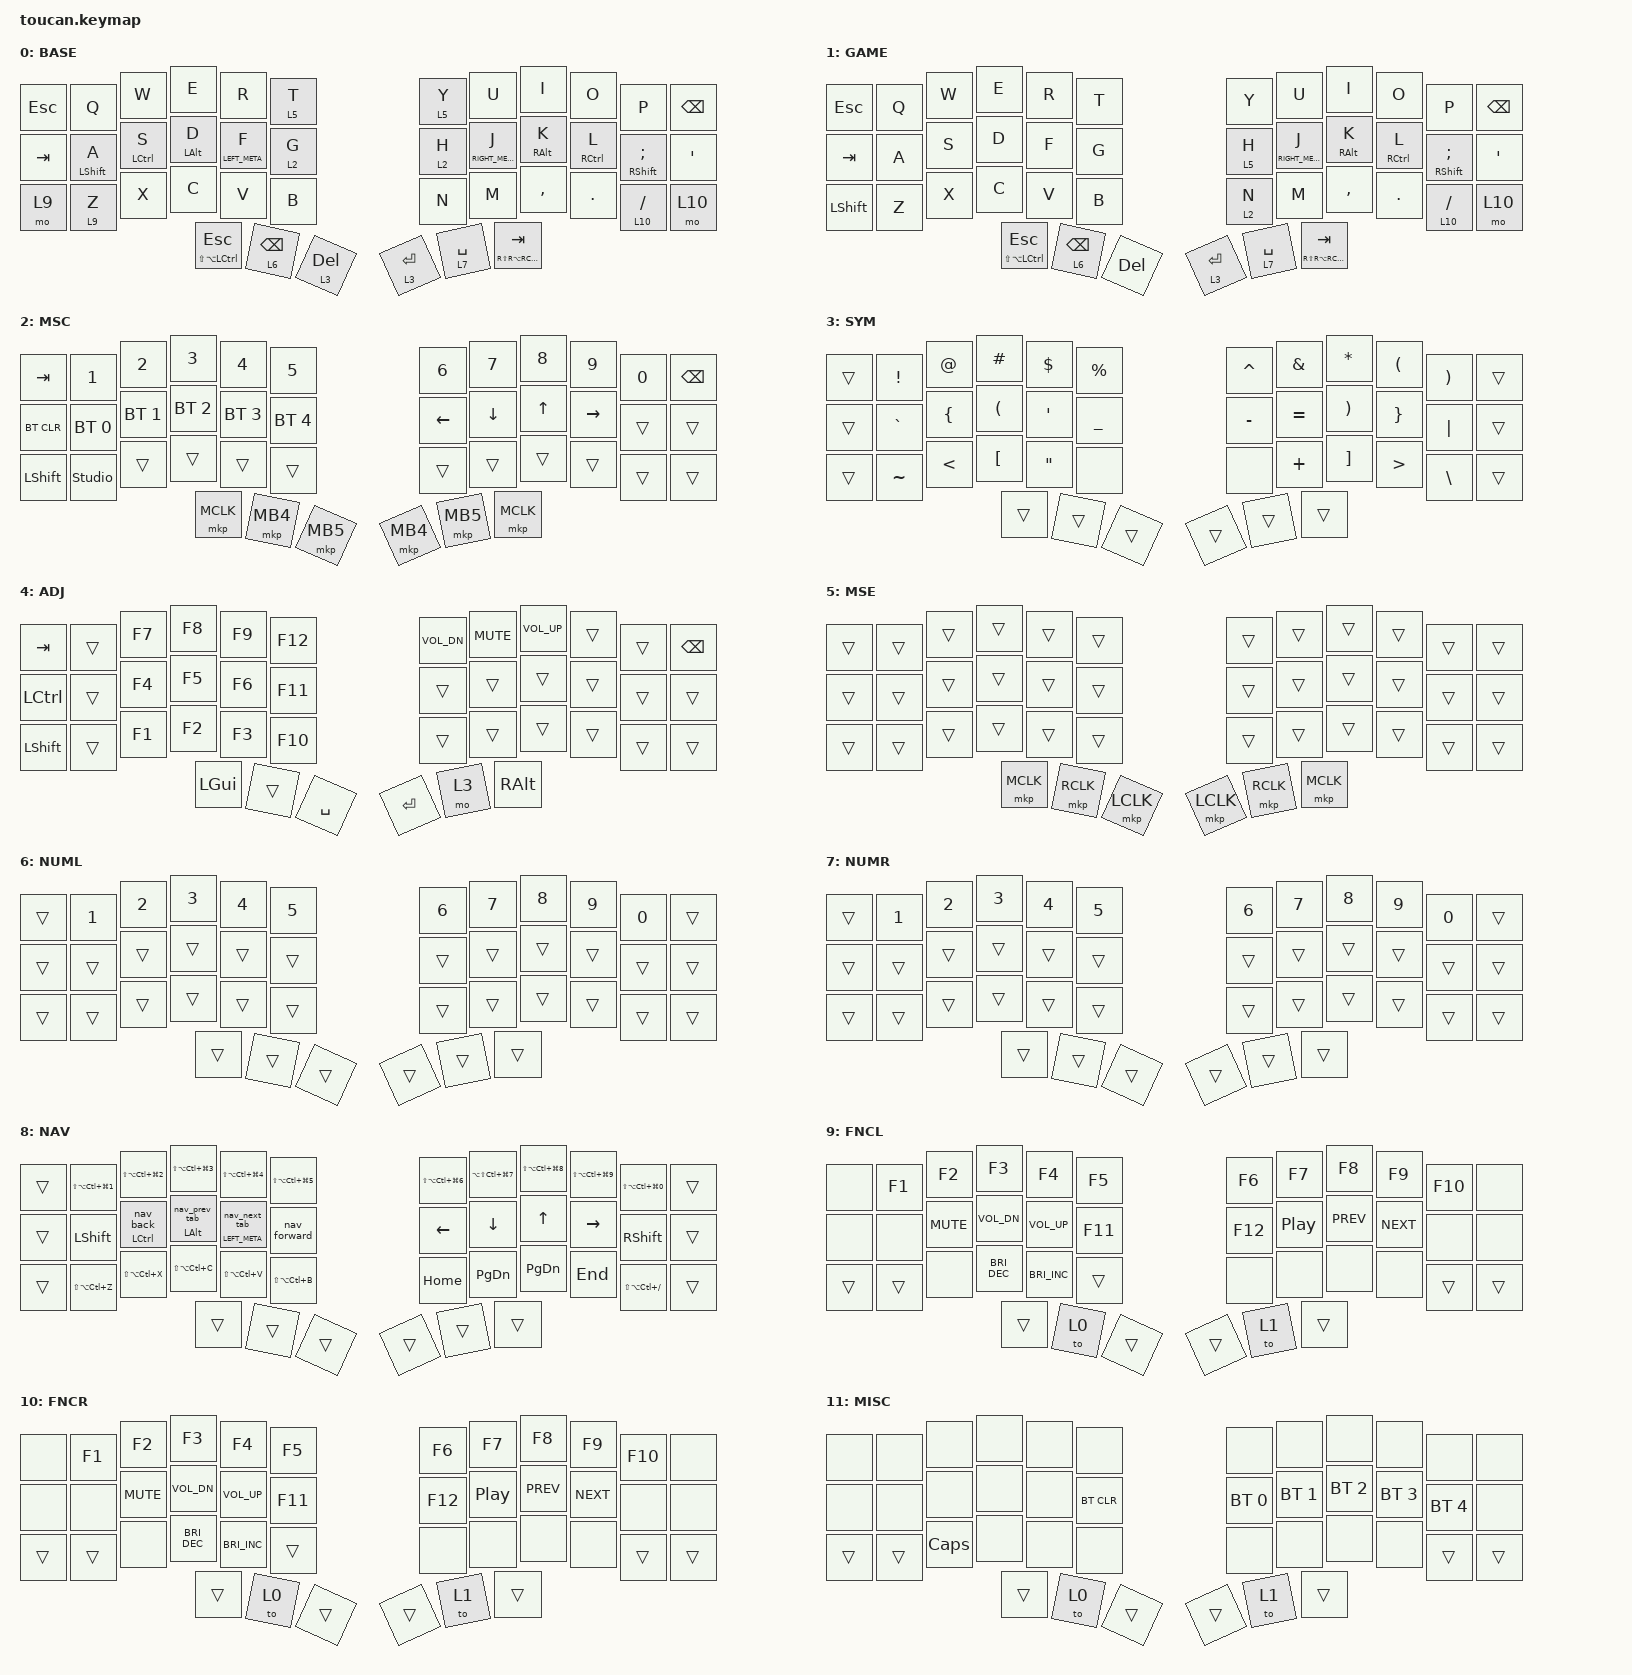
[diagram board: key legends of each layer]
#include <behaviors.dtsi>
#include <dt-bindings/zmk/bt.h>
#include <dt-bindings/zmk/keys.h>
#include <dt-bindings/zmk/pointing.h>

#define BASE 0
#define GAME 1
#define MSC 2
#define SYM 3
#define ADJ 4
#define MSE 5
#define NUML 6
#define NUMR 7
#define NAV 8
#define FNCL 9
#define FNCR 10
#define MISC 11

&lt {
    tapping-term-ms = <250>;
    quick-tap-ms = <220>;
    flavor = "balanced";
};

&mt {
    tapping-term-ms = <275>;
    quick-tap-ms = <275>;
    require-prior-idle-ms = <100>;
    flavor = "balanced";
};

/ {
    conditional_layers {
        compatible = "zmk,conditional-layers";

        NAV {
            if-layers = <6 7>;
            then-layer = <8>;
        };

        MISC {
            if-layers = <9 10>;
            then-layer = <11>;
        };
    };

    macros {
        nav_back: nav_back {
            compatible = "zmk,behavior-macro";
            #binding-cells = <0>;
            bindings = <&kp LG(LC(LS(LEFT_BRACKET)))>;
            label = "NAV_BACK";
        };

        nav_forward: nav_forward {
            compatible = "zmk,behavior-macro";
            #binding-cells = <0>;
            bindings = <&kp LG(LC(LS(RIGHT_BRACKET)))>;
            label = "NAV_FORWARD";
        };

        nav_prev_tab: nav_prev_tab {
            compatible = "zmk,behavior-macro";
            #binding-cells = <0>;
            bindings = <&kp LG(LS(LA(LEFT_BRACKET)))>;
            label = "NAV_PREV_TAB";
        };

        nav_next_tab: nav_next_tab {
            compatible = "zmk,behavior-macro";
            #binding-cells = <0>;
            bindings = <&kp LG(LS(LA(RIGHT_BRACKET)))>;
            label = "NAV_NEXT_TAB";
        };
    };

    behaviors {
        hml: hml {
            compatible = "zmk,behavior-hold-tap";
            label = "HOME_ROW_MODS_LEFT";
            bindings = <&kp>, <&kp>;

            #binding-cells = <2>;
            hold-trigger-key-positions = <6 7 8 9 10 11 18 19 20 21 22 23 30 31 32 33 34 35 40 41 39>;
            tapping-term-ms = <250>;
            quick-tap-ms = <220>;
            require-prior-idle-ms = <100>;
            flavor = "balanced";
            hold-trigger-on-release;
        };

        hmr: hmr {
            compatible = "zmk,behavior-hold-tap";
            label = "HOME_ROW_MODS_RIGHT";
            bindings = <&kp>, <&kp>;

            #binding-cells = <2>;
            tapping-term-ms = <250>;
            quick-tap-ms = <220>;
            require-prior-idle-ms = <100>;
            flavor = "balanced";
            hold-trigger-on-release;
            hold-trigger-key-positions = <0 1 2 3 4 5 12 13 14 15 16 17 24 25 26 27 28 29 36 37 38>;
        };

        hnpt: hnpt {
            compatible = "zmk,behavior-hold-tap";
            label = "HNPT";
            bindings = <&kp>, <&nav_prev_tab>;

            #binding-cells = <2>;
            tapping-term-ms = <275>;
            quick-tap-ms = <275>;
            require-prior-idle-ms = <100>;
            flavor = "balanced";
            hold-trigger-key-positions = <6 7 8 9 10 11 18 19 20 21 22 23 30 31 32 33 34 35 39 40 41>;
            hold-trigger-on-release;
        };

        hnnt: hnnt {
            compatible = "zmk,behavior-hold-tap";
            label = "HNNT";
            bindings = <&kp>, <&nav_next_tab>;

            #binding-cells = <2>;
            tapping-term-ms = <275>;
            quick-tap-ms = <275>;
            require-prior-idle-ms = <100>;
            flavor = "balanced";
            hold-trigger-key-positions = <6 7 8 9 10 11 18 19 20 21 22 23 30 31 32 33 34 35 39 40 41>;
            hold-trigger-on-release;
        };

        hnb: hnb {
            compatible = "zmk,behavior-hold-tap";
            label = "HNB";
            bindings = <&kp>, <&nav_back>;

            #binding-cells = <2>;
            tapping-term-ms = <275>;
            quick-tap-ms = <275>;
            require-prior-idle-ms = <100>;
            flavor = "balanced";
            hold-trigger-key-positions = <6 7 8 9 10 11 18 19 20 21 22 23 30 31 32 33 34 35 39 40 41>;
            hold-trigger-on-release;
        };
    };

    keymap {
        compatible = "zmk,keymap";

        base {
            display-name = "BASE";
            bindings = <
&kp ESCAPE  &kp Q  &kp W  &kp E  &kp R  &lt 5 T  &lt 5 Y  &kp U  &kp I  &kp O  &kp P  &kp BSPC  &kp TAB  &hml LEFT_SHIFT A  &hml LEFT_CONTROL S  &hml LEFT_ALT D  &hml LEFT_META F  &lt 2 G  &lt 2 H  &hmr RIGHT_META J  &hmr RIGHT_ALT K  &hmr RIGHT_CONTROL L  &hmr RIGHT_SHIFT SEMICOLON  &kp SQT  &mo 9  &lt 9 Z  &kp X  &kp C  &kp V  &kp B  &kp N  &kp M  &kp COMMA  &kp DOT  &lt 10 SLASH  &mo 10  &mt LS(LA(LEFT_CONTROL)) ESCAPE  &lt 6 BACKSPACE  &lt 3 DELETE  &lt 3 ENTER  &lt 7 SPACE  &mt RS(RA(RC(RIGHT_META))) TAB
            >;
        };

        game {
            display-name = "GAME";
            bindings = <
&kp ESCAPE  &kp Q  &kp W  &kp E  &kp R  &kp T  &kp Y  &kp U  &kp I  &kp O  &kp P  &kp BSPC  &kp TAB  &kp A  &kp S  &kp D  &kp F  &kp G  &lt 5 H  &hmr RIGHT_META J  &hmr RIGHT_ALT K  &hmr RIGHT_CONTROL L  &hmr RIGHT_SHIFT SEMICOLON  &kp SQT  &kp LEFT_SHIFT  &kp Z  &kp X  &kp C  &kp V  &kp B  &lt 2 N  &kp M  &kp COMMA  &kp DOT  &lt 10 SLASH  &mo 10  &mt LS(LA(LEFT_CONTROL)) ESCAPE  &lt 6 BACKSPACE  &kp DELETE  &lt 3 ENTER  &lt 7 SPACE  &mt RS(RA(RC(RIGHT_META))) TAB
            >;
        };

        msc {
            display-name = "MSC";
            bindings = <
&kp TAB  &kp N1  &kp N2  &kp N3  &kp N4  &kp N5  &kp N6  &kp N7  &kp N8  &kp N9  &kp N0  &kp BSPC  &bt BT_CLR  &bt BT_SEL 0  &bt BT_SEL 1  &bt BT_SEL 2  &bt BT_SEL 3  &bt BT_SEL 4  &kp LEFT  &kp DOWN  &kp UP  &kp RIGHT  &trans  &trans  &kp LSHFT  &studio_unlock  &trans  &trans  &trans  &trans  &trans  &trans  &trans  &trans  &trans  &trans  &mkp MCLK  &mkp MB4  &mkp MB5  &mkp MB4  &mkp MB5  &mkp MCLK
            >;
        };

        sym {
            display-name = "SYM";
            bindings = <
&trans  &kp EXCL  &kp AT  &kp HASH  &kp DLLR  &kp PRCNT  &kp CARET  &kp AMPS  &kp ASTERISK  &kp LPAR  &kp RPAR  &trans  &trans  &kp GRAVE  &kp LEFT_BRACE  &kp LEFT_PARENTHESIS  &kp SQT  &kp UNDERSCORE  &kp MINUS  &kp EQUAL  &kp RIGHT_PARENTHESIS  &kp RIGHT_BRACE  &kp PIPE  &trans  &trans  &kp TILDE  &kp LESS_THAN  &kp LEFT_BRACKET  &kp DOUBLE_QUOTES  &none  &none  &kp PLUS  &kp RIGHT_BRACKET  &kp GREATER_THAN  &kp BACKSLASH  &trans  &trans  &trans  &trans  &trans  &trans  &trans
            >;
        };

        adj {
            display-name = "ADJ";
            bindings = <
&kp TAB  &trans  &kp F7  &kp F8  &kp F9  &kp F12  &kp C_VOL_DN  &kp C_MUTE  &kp C_VOL_UP  &trans  &trans  &kp BSPC  &kp LCTRL  &trans  &kp F4  &kp F5  &kp F6  &kp F11  &trans  &trans  &trans  &trans  &trans  &trans  &kp LSHFT  &trans  &kp F1  &kp F2  &kp F3  &kp F10  &trans  &trans  &trans  &trans  &trans  &trans  &kp LGUI  &trans  &kp SPACE  &kp RET  &mo 3  &kp RALT
            >;
        };

        mse {
            display-name = "MSE";
            bindings = <
&trans  &trans  &trans  &trans  &trans  &trans  &trans  &trans  &trans  &trans  &trans  &trans  &trans  &trans  &trans  &trans  &trans  &trans  &trans  &trans  &trans  &trans  &trans  &trans  &trans  &trans  &trans  &trans  &trans  &trans  &trans  &trans  &trans  &trans  &trans  &trans  &mkp MCLK  &mkp RCLK  &mkp LCLK  &mkp LCLK  &mkp RCLK  &mkp MCLK
            >;
        };

        numl {
            display-name = "NUML";
            bindings = <
&trans  &kp NUMBER_1  &kp NUMBER_2  &kp NUMBER_3  &kp NUMBER_4  &kp NUMBER_5  &kp NUMBER_6  &kp NUMBER_7  &kp NUMBER_8  &kp NUMBER_9  &kp NUMBER_0  &trans  &trans  &trans  &trans  &trans  &trans  &trans  &trans  &trans  &trans  &trans  &trans  &trans  &trans  &trans  &trans  &trans  &trans  &trans  &trans  &trans  &trans  &trans  &trans  &trans  &trans  &trans  &trans  &trans  &trans  &trans
            >;
        };

        numr {
            display-name = "NUMR";
            bindings = <
&trans  &kp NUMBER_1  &kp NUMBER_2  &kp NUMBER_3  &kp NUMBER_4  &kp NUMBER_5  &kp NUMBER_6  &kp NUMBER_7  &kp NUMBER_8  &kp NUMBER_9  &kp NUMBER_0  &trans  &trans  &trans  &trans  &trans  &trans  &trans  &trans  &trans  &trans  &trans  &trans  &trans  &trans  &trans  &trans  &trans  &trans  &trans  &trans  &trans  &trans  &trans  &trans  &trans  &trans  &trans  &trans  &trans  &trans  &trans
            >;
        };

        nav {
            display-name = "NAV";
            bindings = <
&trans  &kp LS(LA(LC(LG(NUMBER_1))))  &kp LS(LA(LC(LG(NUMBER_2))))  &kp LS(LA(LC(LG(NUMBER_3))))  &kp LS(LA(LC(LG(NUMBER_4))))  &kp LS(LA(LC(LG(NUMBER_5))))  &kp LS(LA(LC(LG(NUMBER_6))))  &kp LA(LS(LC(LG(NUMBER_7))))  &kp LS(LA(LC(LG(NUMBER_8))))  &kp LS(LA(LC(LG(NUMBER_9))))  &kp LS(LA(LC(LG(NUMBER_0))))  &trans  &trans  &kp LEFT_SHIFT  &hnb LEFT_CONTROL 0  &hnpt LEFT_ALT 0  &hnnt LEFT_META 0  &nav_forward  &kp LEFT_ARROW  &kp DOWN_ARROW  &kp UP_ARROW  &kp RIGHT_ARROW  &kp RIGHT_SHIFT  &trans  &trans  &kp LS(LA(LC(Z)))  &kp LS(LA(LC(X)))  &kp LS(LA(LC(C)))  &kp LS(LA(LC(V)))  &kp LS(LA(LC(B)))  &kp HOME  &kp PAGE_DOWN  &kp PAGE_DOWN  &kp END  &kp LS(LA(LC(SLASH)))  &trans  &trans  &trans  &trans  &trans  &trans  &trans
            >;
        };

        fncl {
            display-name = "FNCL";
            bindings = <
&none  &kp F1  &kp F2  &kp F3  &kp F4  &kp F5  &kp F6  &kp F7  &kp F8  &kp F9  &kp F10  &none  &none  &none  &kp C_MUTE  &kp C_VOL_DN  &kp C_VOLUME_UP  &kp F11  &kp F12  &kp C_PP  &kp C_PREV  &kp C_NEXT  &none  &none  &trans  &trans  &none  &kp C_BRI_DEC  &kp C_BRIGHTNESS_INC  &trans  &none  &none  &none  &none  &trans  &trans  &trans  &to 0  &trans  &trans  &to 1  &trans
            >;
        };

        fncr {
            display-name = "FNCR";
            bindings = <
&none  &kp F1  &kp F2  &kp F3  &kp F4  &kp F5  &kp F6  &kp F7  &kp F8  &kp F9  &kp F10  &none  &none  &none  &kp C_MUTE  &kp C_VOL_DN  &kp C_VOLUME_UP  &kp F11  &kp F12  &kp C_PP  &kp C_PREV  &kp C_NEXT  &none  &none  &trans  &trans  &none  &kp C_BRI_DEC  &kp C_BRIGHTNESS_INC  &trans  &none  &none  &none  &none  &trans  &trans  &trans  &to 0  &trans  &trans  &to 1  &trans
            >;
        };

        misc {
            display-name = "MISC";
            bindings = <
&none  &none  &none  &none  &none  &none  &none  &none  &none  &none  &none  &none  &none  &none  &none  &none  &none  &bt BT_CLR  &bt BT_SEL 0  &bt BT_SEL 1  &bt BT_SEL 2  &bt BT_SEL 3  &bt BT_SEL 4  &none  &trans  &trans  &kp CAPSLOCK  &none  &none  &none  &none  &none  &none  &none  &trans  &trans  &trans  &to 0  &trans  &trans  &to 1  &trans
            >;
        };
    };
};
